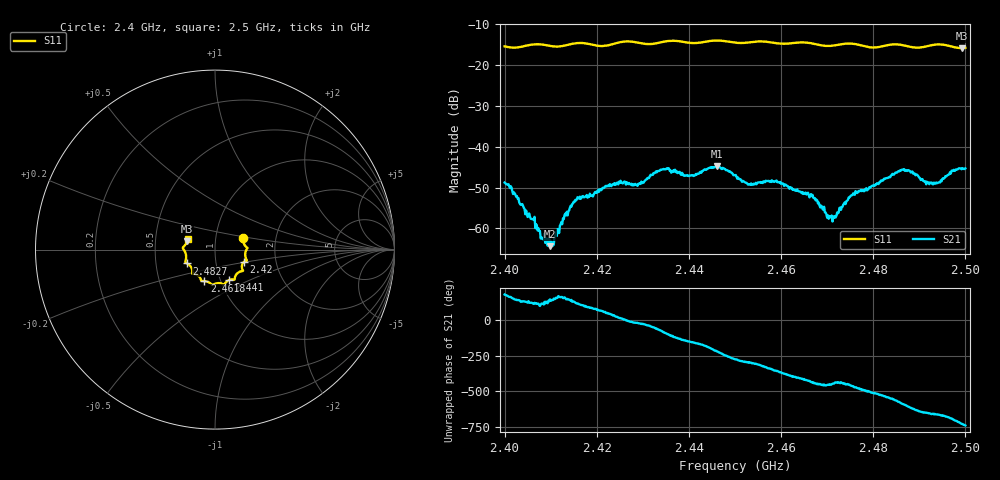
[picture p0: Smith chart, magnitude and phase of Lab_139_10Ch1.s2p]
# Hz S RI R 50
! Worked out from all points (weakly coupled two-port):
!   601 points, 2.4 GHz to 2.5 GHz, reference 50 ohm
!   highest |S21| = -44.80 dB at 2.4462 GHz (marker M1); lowest = -64.3 dB at 2.4098 GHz (marker M2)
!   lowest |S11| = -15.8 dB at 2.4992 GHz (marker M3), VSWR 1.39, Z = 36.4 + j3.65 ohm
!   |S11| at or under -10 dB: start of sweep to end of sweep
!   S12 and S22 are empty: the file has one direction only
!   S11 on the Smith chart (normalised r, x): 2.4 GHz: 1.36, +0.18; 2.42 GHz: 1.36, -0.20; 2.441 GHz: 1.10, -0.39; 2.4618 GHz: 0.84, -0.30; 2.4827 GHz: 0.72, -0.12; 2.5 GHz: 0.73, +0.09
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2.4e9  0.1583 0.0628  -0.00365 7.28e-05  0 0  0 0
2.409833e9  0.1726 -0.00479  -0.000497 0.000349  0 0  0 0
2.414833e9  0.1754 -0.055  -0.00134 0.00153  0 0  0 0
2.416667e9  0.1775 -0.0606  -0.000637 0.00228  0 0  0 0
2.42e9  0.1595 -0.0704  0.000917 0.00269  0 0  0 0
2.424833e9  0.1538 -0.1125  0.0036 0.001  0 0  0 0
2.429e9  0.1455 -0.1208  0.00328 -0.00131  0 0  0 0
2.433333e9  0.1118 -0.151  0.00204 -0.00464  0 0  0 0
2.441e9  0.0783 -0.1699  -0.00409 -0.0016  0 0  0 0
2.446167e9  0.0499 -0.1951  -0.00431 0.00381  0 0  0 0
2.45e9  0.0283 -0.1871  0.000425 0.00448  0 0  0 0
2.453167e9  -0.00199 -0.191  0.00159 0.0031  0 0  0 0
2.461833e9  -0.0593 -0.1755  0.00265 -0.00155  0 0  0 0
2.466667e9  -0.0784 -0.1682  0.000606 -0.00241  0 0  0 0
2.4715e9  -0.1091 -0.1367  9.01e-05 -0.00135  0 0  0 0
2.475167e9  -0.1273 -0.1335  -0.000443 -0.00249  0 0  0 0
2.482667e9  -0.1563 -0.0773  -0.00411 -0.000214  0 0  0 0
2.483333e9  -0.1606 -0.0754  -0.00422 0.000299  0 0  0 0
2.486667e9  -0.1636 -0.0625  -0.00324 0.00425  0 0  0 0
2.493333e9  -0.1789 0.00573  0.00175 0.00311  0 0  0 0
2.499167e9  -0.1547 0.0488  0.00524 -0.000851  0 0  0 0
2.5e9  -0.1522 0.0608  0.0051 -0.0019  0 0  0 0
